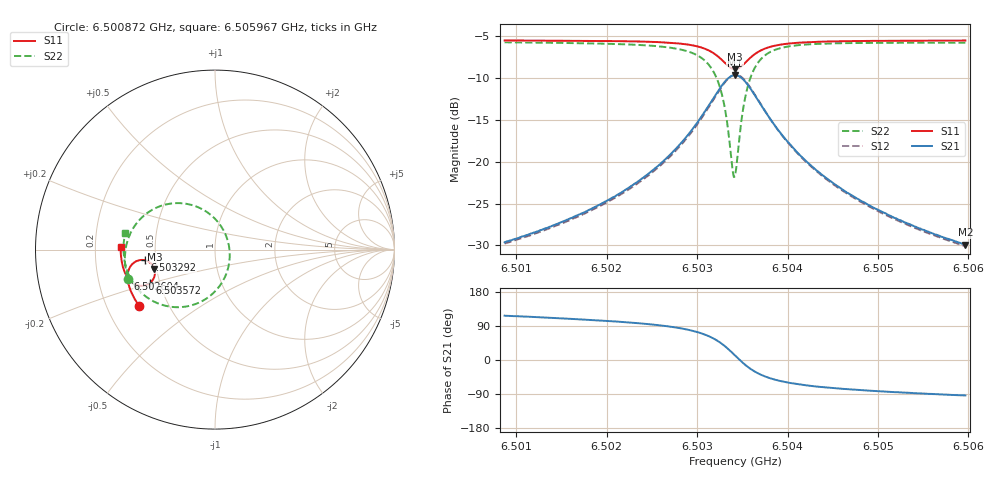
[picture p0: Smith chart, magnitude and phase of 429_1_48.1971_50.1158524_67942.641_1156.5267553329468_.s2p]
#  HZ  S  RI  R  50.00
! Rohde & Schwarz Vector Network Analyzer
! Rohde-Schwarz,ZNB20-2Port,1311601062101988,3.16
! Created: UTC 3/20/2024, 11:55:15 AM
! freq[Hz]  re:S11  im:S11  re:S21  im:S21  re:S12  im:S12  re:S22  im:S22
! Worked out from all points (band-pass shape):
!   401 points, 6.500872 GHz to 6.505967 GHz, reference 50 ohm
!   highest |S21| = -9.71 dB at 6.503419 GHz (marker M1); lowest = -29.9 dB at 6.505967 GHz (marker M2)
!   |S21| within 3 dB of the highest: 6.503165 GHz to 6.503675 GHz (509.7 kHz wide, 0.00784 % of centre)
!   lowest |S11| = -9.0 dB at 6.503419 GHz (marker M3), VSWR 2.10, Z = 24.3 - j5.97 ohm
!   |S11| at or under -10 dB: nowhere
!   |S22| runs from -21.8 to -5.8 dB; largest |S21 - S12| = 0.012
!   S11 on the Smith chart (normalised r, x): 6.500872 GHz: 0.34, -0.30; 6.502604 GHz: 0.33, -0.15; 6.503292 GHz: 0.44, -0.06; 6.503572 GHz: 0.44, -0.20; 6.505967 GHz: 0.31, +0.01
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6.5008718e9  -0.4228 -0.3136  -0.015 0.0294  -0.0133 0.0296  -0.4872 -0.1619
6.5017252e9  -0.4599 -0.2511  -0.0144 0.047  -0.012 0.0465  -0.5017 -0.0725
6.5021965e9  -0.4769 -0.2098  -0.0116 0.0662  -0.00857 0.0651  -0.4995 -0.00668
6.5025786e9  -0.4862 -0.1681  -0.00283 0.0953  0.000813 0.0931  -0.4808 0.0684
6.5026041e9  -0.4866 -0.1648  -0.00177 0.0979  0.00201 0.0957  -0.4785 0.0746
6.502897e9  -0.4832 -0.1203  0.025 0.1416  0.0288 0.1371  -0.4229 0.1633
6.5030881e9  -0.4623 -0.0823  0.0782 0.1833  0.0809 0.1773  -0.3208 0.236
6.5032027e9  -0.4302 -0.0614  0.1465 0.2014  0.1475 0.195  -0.1979 0.2591
6.5032919e9  -0.3902 -0.0593  0.2254 0.186  0.2259 0.1806  -0.0622 0.22
6.5033301e9  -0.371 -0.0667  0.2616 0.1632  0.2626 0.1584  -0.00216 0.174
6.5033938e9  -0.3442 -0.093  0.3095 0.0999  0.312 0.0949  0.0703 0.0525
6.5034193e9  -0.3378 -0.1075  0.3198 0.0679  0.3231 0.0621  0.0814 -0.00722
6.5034447e9  -0.3347 -0.1231  0.3237 0.0345  0.3272 0.0275  0.0799 -0.0683
6.5035084e9  -0.3416 -0.1603  0.3062 -0.0431  0.3083 -0.0531  0.0256 -0.2031
6.5035721e9  -0.3626 -0.1862  0.2636 -0.0973  0.2626 -0.1086  -0.0701 -0.2861
6.503674e9  -0.4021 -0.2014  0.1895 -0.1336  0.1841 -0.1432  -0.2195 -0.3208
6.5038396e9  -0.448 -0.1919  0.1081 -0.131  0.1009 -0.136  -0.3663 -0.2748
6.5040179e9  -0.4754 -0.1704  0.0636 -0.1111  0.0575 -0.1133  -0.4379 -0.2104
6.5042727e9  -0.4961 -0.1404  0.0338 -0.0869  0.029 -0.0874  -0.4813 -0.1386
6.504642e9  -0.5114 -0.1021  0.0154 -0.0644  0.012 -0.0642  -0.5033 -0.066
6.5051261e9  -0.5211 -0.0575  0.00498 -0.0475  0.00271 -0.0468  -0.5099 0.00173
6.5059667e9  -0.526 0.0135  -0.00193 -0.0319  -0.00332 -0.0312  -0.502 0.0899
